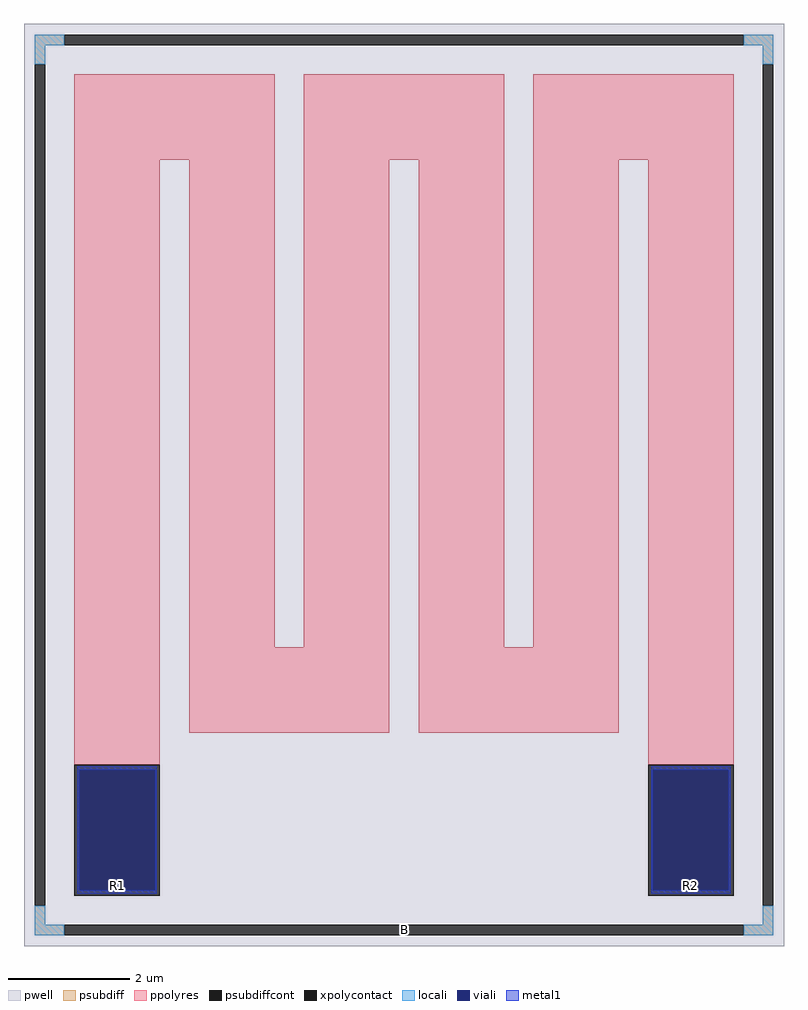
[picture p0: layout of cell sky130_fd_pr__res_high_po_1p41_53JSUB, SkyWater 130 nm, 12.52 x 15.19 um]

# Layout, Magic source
magic
tech sky130A
magscale 1 2
<< pwell >>
rect -1252 -1519 1252 1519
<< psubdiff >>
rect -1216 1449 -1120 1483
rect 1120 1449 1216 1483
rect -1216 1387 -1182 1449
rect 1182 1387 1216 1449
rect -1216 -1449 -1182 -1387
rect 1182 -1449 1216 -1387
rect -1216 -1483 -1120 -1449
rect 1120 -1483 1216 -1449
<< psubdiffcont >>
rect -1120 1449 1120 1483
rect -1216 -1387 -1182 1387
rect 1182 -1387 1216 1387
rect -1120 -1483 1120 -1449
<< xpolycontact >>
rect -1086 -1353 -804 -921
rect 804 -1353 1086 -921
<< ppolyres >>
rect -1086 1071 -426 1353
rect -1086 -921 -804 1071
rect -708 -535 -426 1071
rect -330 1071 330 1353
rect -330 -535 -48 1071
rect -708 -817 -48 -535
rect 48 -535 330 1071
rect 426 1071 1086 1353
rect 426 -535 708 1071
rect 48 -817 708 -535
rect 804 -921 1086 1071
<< locali >>
rect -1216 1449 -1120 1483
rect 1120 1449 1216 1483
rect -1216 1387 -1182 1449
rect 1182 1387 1216 1449
rect -1216 -1449 -1182 -1387
rect 1182 -1449 1216 -1387
rect -1216 -1483 -1120 -1449
rect 1120 -1483 1216 -1449
<< viali >>
rect -1070 -1335 -820 -938
rect 820 -1335 1070 -938
<< metal1 >>
rect -1076 -938 -814 -926
rect -1076 -1335 -1070 -938
rect -820 -1335 -814 -938
rect -1076 -1347 -814 -1335
rect 814 -938 1076 -926
rect 814 -1335 820 -938
rect 1070 -1335 1076 -938
rect 814 -1347 1076 -1335
<< labels >>
rlabel psubdiffcont 0 -1466 0 -1466 0 B
port 1 nsew
rlabel xpolycontact -945 -1318 -945 -1318 0 R1
port 2 nsew
rlabel xpolycontact 945 -1318 945 -1318 0 R2
port 3 nsew
<< properties >>
string FIXED_BBOX -1199 -1466 1199 1466
string gencell sky130_fd_pr__res_high_po_1p41
string library sky130
string parameters w 1.41 l 10.85 m 1 nx 6 wmin 1.410 lmin 0.50 class resistor rho 319.8 val 16.64k dummy 0 dw 0.0 term 194.82 sterm 0.0 caplen 0 guard 1 glc 1 grc 1 gtc 1 gbc 1 compatible {sky130_fd_pr__res_high_po_0p35  sky130_fd_pr__res_high_po_0p69 sky130_fd_pr__res_high_po_1p41  sky130_fd_pr__res_high_po_2p85 sky130_fd_pr__res_high_po_5p73} snake 1 full_metal 1 wmax 1.410 n_guard 0 hv_guard 0 vias 1 viagb 0 viagt 0 viagl 0 viagr 0 doports 1
<< end >>
